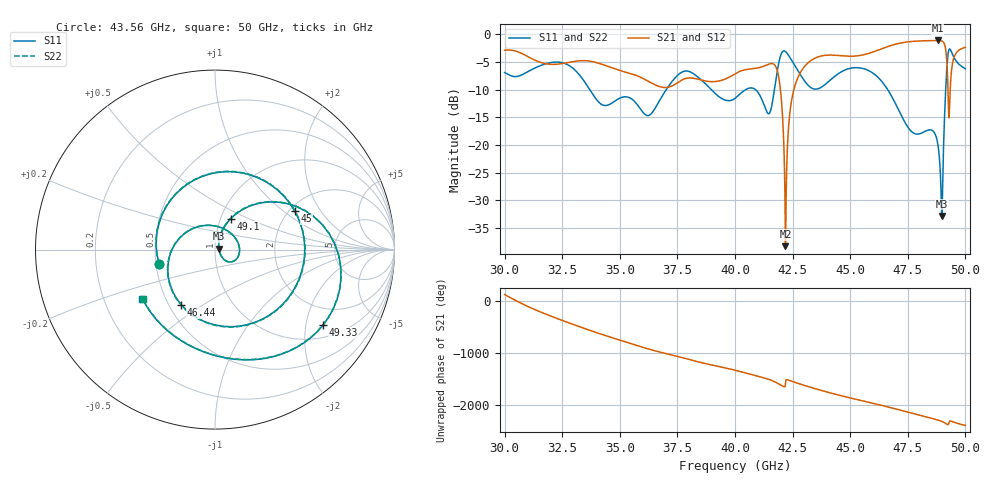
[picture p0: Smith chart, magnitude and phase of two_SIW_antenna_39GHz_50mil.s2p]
! Touchstone file from project two_SIW_antenna_39GHz_50mil
! Exported from HFSS 2017.0.0
! Variables:
!  $D1 = 1.82692307692308mm
!  $Disk_shift = 0mm
!  $G1 = 0.243589743589744mm
!  $G2 = 0.608974358974359mm
!  $S0 = 50mil
!  $S1 = 0.243589743589744mm
!  $S2 = 4.87179487179487mm
!  $SL = 1.46153846153846mm
!  $SW = 0.584615384615385mm
!  $VL = 1.82692307692308mm
!  $VW = 0.618717948717949mm
!  $W = 3.02051282051282mm
!  $W1 = 3.02051282051282mm
!  $extension_from_slot = 4.87179487179487mm
!  $length = 21.9121153846154mm
!  $new_width = 9.68025641025641mm
!  $offset = 0.5mm
!  $patch_step = 3.34935897435897mm
!  $slot_center_to_short = 5.02403846153846mm
!  $slot_side = 0.730769230769231mm
!  $slot_step = 3.34935897435897mm
!  $substrate_edge = 2.23290598290598mm
!  $width = 6.04102564102564mm
!  brick_dist = 0.608974358974359mm
!  leak_gap = 5.5mm
!Data is not renormalized
# GHZ S MA
! Modal data exported
! Port[1] = 1:1
! Port[2] = 2:1
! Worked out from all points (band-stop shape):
!   2001 points, 30 GHz to 50 GHz, reference per port
!   highest |S21| = -1.12 dB at 48.79 GHz (marker M1); lowest = -38.2 dB at 42.19 GHz (marker M2)
!   |S21| within 3 dB of the highest: start of sweep to 31.05 GHz; 43.58 GHz to 49.18 GHz (5.596 GHz wide, 12.1 % of centre)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
!   lowest |S11| = -32.8 dB at 48.98 GHz (marker M3), VSWR 1.05
!   |S11| at or under -10 dB: 33.7 GHz to 37.01 GHz (3.319 GHz wide, 9.39 % of centre); 38.97 GHz to 40.46 GHz (1.488 GHz wide, 3.75 % of centre); 46.63 GHz to 49.14 GHz (2.516 GHz wide, 5.25 % of centre)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
!   |S22| runs from -33.4 to -2.7 dB; largest |S21 - S12| = 1.3e-14
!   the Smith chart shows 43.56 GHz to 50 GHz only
!   S11 on the Smith chart (normalised r, x): 43.56 GHz: 0.52, -0.09; 45 GHz: 2.13, +1.21; 46.44 GHz: 0.58, -0.41; 49.1 GHz: 1.12, +0.40; 49.33 GHz: 1.38, -2.51; 50 GHz: 0.37, -0.27
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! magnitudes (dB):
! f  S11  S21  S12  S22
! 30 GHz  -6.9  -2.9  -2.9  -6.9
! 33.34 GHz  -7.8  -4.8  -4.8  -7.8
! 34.29 GHz  -12.8  -5.5  -5.5  -12.8
! 36.67 GHz  -12.4  -9.4  -9.4  -12.3
! 37.86 GHz  -6.6  -8.0  -8.0  -6.7
! 40 GHz  -11.6  -7.2  -7.2  -11.5
! 41.46 GHz  -14.3  -5.4  -5.4  -14.4
! 41.76 GHz  -8.6  -5.8  -5.8  -8.6
! 41.98 GHz  -3.8  -10.3  -10.3  -3.8
! 42.19 GHz  -3.1  -38.2  -38.2  -3.1
! 42.54 GHz  -5.3  -10.2  -10.2  -5.3
! 43.34 GHz  -9.7  -4.6  -4.6  -9.7
! 43.56 GHz  -9.9  -4.2  -4.2  -9.9
! 45 GHz  -6.1  -4.0  -4.0  -6.1
! 46.44 GHz  -8.9  -2.5  -2.5  -8.8
! 46.67 GHz  -10.3  -2.2  -2.2  -10.2
! 48.79 GHz  -19.5  -1.1  -1.1  -19.6
! 48.98 GHz  -32.8  -1.2  -1.2  -33.4
! 49.1 GHz  -14.3  -1.9  -1.9  -14.3
! 49.33 GHz  -2.7  -11.0  -11.0  -2.7
! 49.53 GHz  -4.4  -3.9  -3.9  -4.4
! 50 GHz  -6.2  -2.4  -2.4  -6.3
